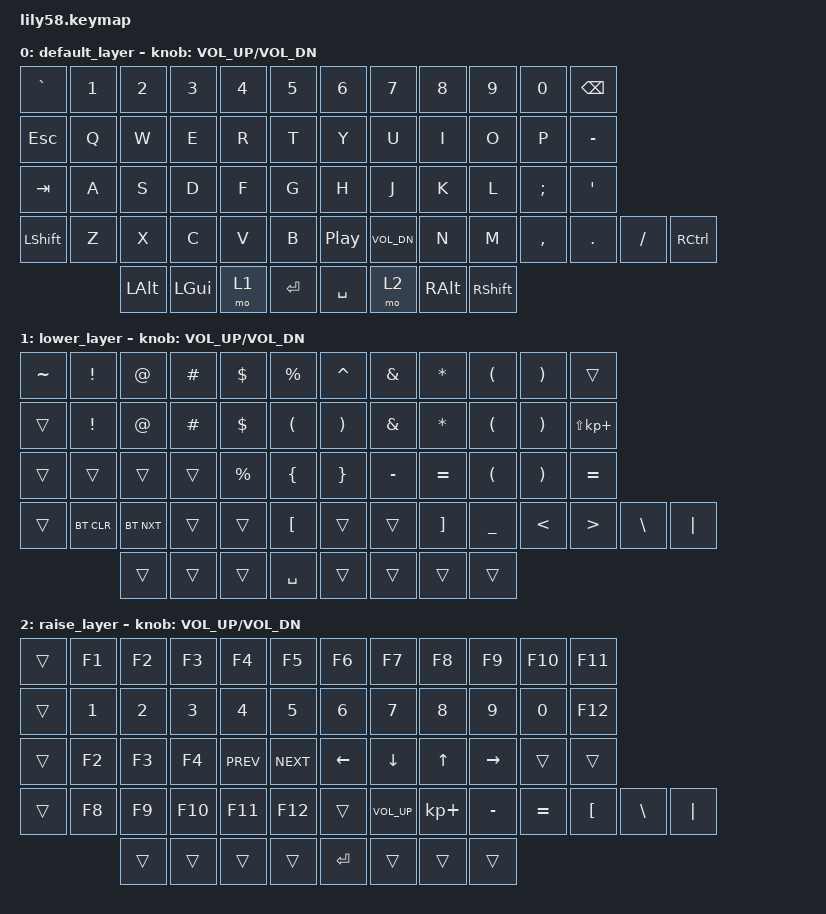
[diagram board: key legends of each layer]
/*
 * Lily58 keymap, read from the keyboard's ZMK Studio settings on 2026-11-27.
 * Every binding matches what was on the board. Volume keys use the
 * keyboard-page codes (K_VOL_UP/K_VOL_DN) exactly as stored on the board.
 * The encoder (sensor-bindings) is not stored by Studio, so it keeps keebd's default.
 */

#include <behaviors.dtsi>
#include <dt-bindings/zmk/keys.h>
#include <dt-bindings/zmk/bt.h>
#include <dt-bindings/zmk/ext_power.h>

/ {
    keymap {
        compatible = "zmk,keymap";

        default_layer {
            bindings = <
            &kp GRAVE     &kp N1        &kp N2        &kp N3        &kp N4        &kp N5          &kp N6        &kp N7        &kp N8        &kp N9        &kp N0        &kp BSPC
            &kp ESC       &kp Q         &kp W         &kp E         &kp R         &kp T           &kp Y         &kp U         &kp I         &kp O         &kp P         &kp MINUS
            &kp TAB       &kp A         &kp S         &kp D         &kp F         &kp G           &kp H         &kp J         &kp K         &kp L         &kp SEMI      &kp SQT
            &kp LSHFT     &kp Z         &kp X         &kp C         &kp V         &kp B         &kp C_PP        &kp K_VOL_DN  &kp N         &kp M         &kp COMMA     &kp DOT       &kp FSLH      &kp RCTRL
                                        &kp LALT      &kp LGUI      &mo 1         &kp RET         &kp SPACE     &mo 2         &kp RALT      &kp RSHFT
            >;

            sensor-bindings = <&inc_dec_kp C_VOL_UP C_VOL_DN>;
        };

        lower_layer {
            bindings = <
            &kp TILDE        &kp EXCL         &kp AT           &kp HASH         &kp DOLLAR       &kp PRCNT          &kp CARET        &kp AMPS         &kp ASTRK        &kp LPAR         &kp RPAR         &trans
            &trans           &kp EXCL         &kp AT           &kp HASH         &kp DOLLAR       &kp LPAR           &kp RPAR         &kp AMPS         &kp ASTRK        &kp LPAR         &kp RPAR         &kp LS(KP_PLUS)
            &trans           &trans           &trans           &trans           &kp PRCNT        &kp LBRC           &kp RBRC         &kp MINUS        &kp EQUAL        &kp LPAR         &kp RPAR         &kp EQUAL
            &trans           &bt BT_CLR       &bt BT_NXT       &trans           &trans           &kp LBKT         &trans             &trans           &kp RBKT         &kp UNDER        &kp LT           &kp GT           &kp BSLH         &kp PIPE
                                              &trans           &trans           &trans           &kp SPACE          &trans           &trans           &trans           &trans
            >;

            sensor-bindings = <&inc_dec_kp C_VOL_UP C_VOL_DN>;
        };

        raise_layer {
            bindings = <
            &trans        &kp F1        &kp F2        &kp F3        &kp F4        &kp F5          &kp F6        &kp F7        &kp F8        &kp F9        &kp F10       &kp F11
            &trans        &kp N1        &kp N2        &kp N3        &kp N4        &kp N5          &kp N6        &kp N7        &kp N8        &kp N9        &kp N0        &kp F12
            &trans        &kp F2        &kp F3        &kp F4        &kp C_PREV    &kp C_NEXT      &kp LEFT      &kp DOWN      &kp UP        &kp RIGHT     &trans        &trans
            &trans        &kp F8        &kp F9        &kp F10       &kp F11       &kp F12       &trans          &kp K_VOL_UP  &kp KP_PLUS   &kp MINUS     &kp EQUAL     &kp LBKT      &kp BSLH      &kp PIPE
                                        &trans        &trans        &trans        &trans          &kp RET       &trans        &trans        &trans
            >;

            sensor-bindings = <&inc_dec_kp C_VOL_UP C_VOL_DN>;
        };

    };
};
